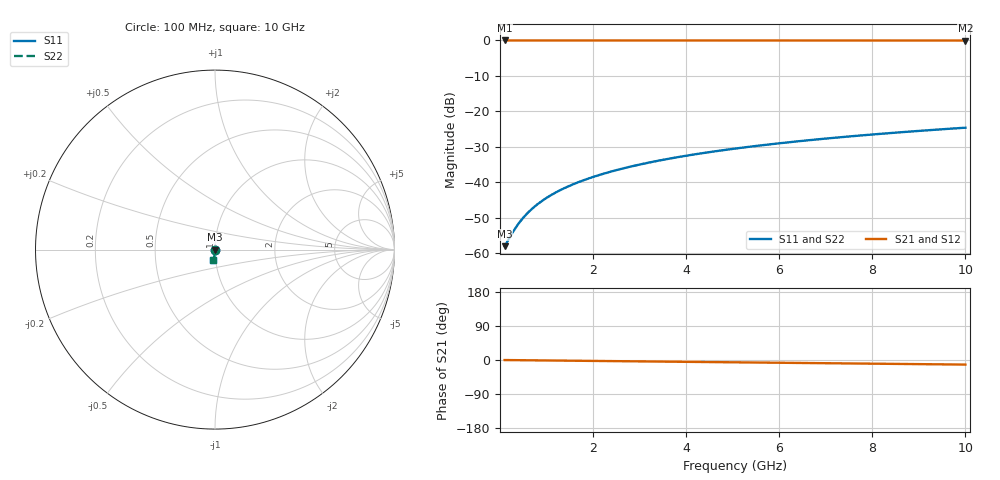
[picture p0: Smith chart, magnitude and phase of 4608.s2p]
# Hz S RI R 50.00
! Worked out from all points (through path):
!   100 points, 100 MHz to 10 GHz, reference 50 ohm
!   highest |S21| = -0.01 dB at 100 MHz (marker M1); lowest = 0.0 dB at 10 GHz (marker M2)
!   group delay of S21, straight-line fit = 3.36 ps
!   lowest |S11| = -58.0 dB at 100 MHz (marker M3), VSWR 1.00, Z = 50.1 - j0.0594 ohm
!   |S11| at or under -10 dB: start of sweep to end of sweep
!   |S22| runs from -58.0 to -24.6 dB; largest |S21 - S12| = 0
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1e8  0.0011 -0.000593  0.9989 -0.00211  0.9989 -0.00211  0.0011 -0.000593
3e8  0.00111 -0.00178  0.9989 -0.00632  0.9989 -0.00632  0.00111 -0.00178
4e8  0.0011 -0.00237  0.9988 -0.00843  0.9988 -0.00843  0.0011 -0.00237
5e8  0.00109 -0.00296  0.9988 -0.0105  0.9988 -0.0105  0.00109 -0.00296
6e8  0.00108 -0.00356  0.9988 -0.0126  0.9988 -0.0126  0.00108 -0.00356
7e8  0.00107 -0.00415  0.9987 -0.0148  0.9987 -0.0148  0.00107 -0.00415
8e8  0.00105 -0.00474  0.9987 -0.0169  0.9987 -0.0169  0.00105 -0.00474
9e8  0.00103 -0.00533  0.9987 -0.019  0.9987 -0.019  0.00103 -0.00533
1e9  0.00101 -0.00592  0.9986 -0.0211  0.9986 -0.0211  0.00101 -0.00592
1.2e9  0.000953 -0.00711  0.9985 -0.0253  0.9985 -0.0253  0.000953 -0.00711
1.5e9  0.000854 -0.00888  0.9983 -0.0316  0.9983 -0.0316  0.000854 -0.00888
1.8e9  0.000732 -0.0107  0.998 -0.0379  0.998 -0.0379  0.000732 -0.0107
2.1e9  0.000588 -0.0124  0.9977 -0.0443  0.9977 -0.0443  0.000588 -0.0124
2.5e9  0.000359 -0.0148  0.9973 -0.0527  0.9973 -0.0527  0.000359 -0.0148
2.9e9  9.09e-05 -0.0172  0.9968 -0.0611  0.9968 -0.0611  9.09e-05 -0.0172
3.4e9  -0.000301 -0.0201  0.996 -0.0716  0.996 -0.0716  -0.000301 -0.0201
4.2e9  -0.00106 -0.0248  0.9945 -0.0884  0.9945 -0.0884  -0.00106 -0.0248
5.1e9  -0.0021 -0.03  0.9925 -0.1073  0.9925 -0.1073  -0.0021 -0.03
5.9e9  -0.00319 -0.0347  0.9904 -0.124  0.9904 -0.124  -0.00319 -0.0347
6.7e9  -0.00444 -0.0392  0.9879 -0.1407  0.9879 -0.1407  -0.00444 -0.0392
8.4e9  -0.0076 -0.0489  0.9817 -0.1761  0.9817 -0.1761  -0.0076 -0.0489
1e10  -0.0112 -0.0577  0.9747 -0.2091  0.9747 -0.2091  -0.0112 -0.0577
